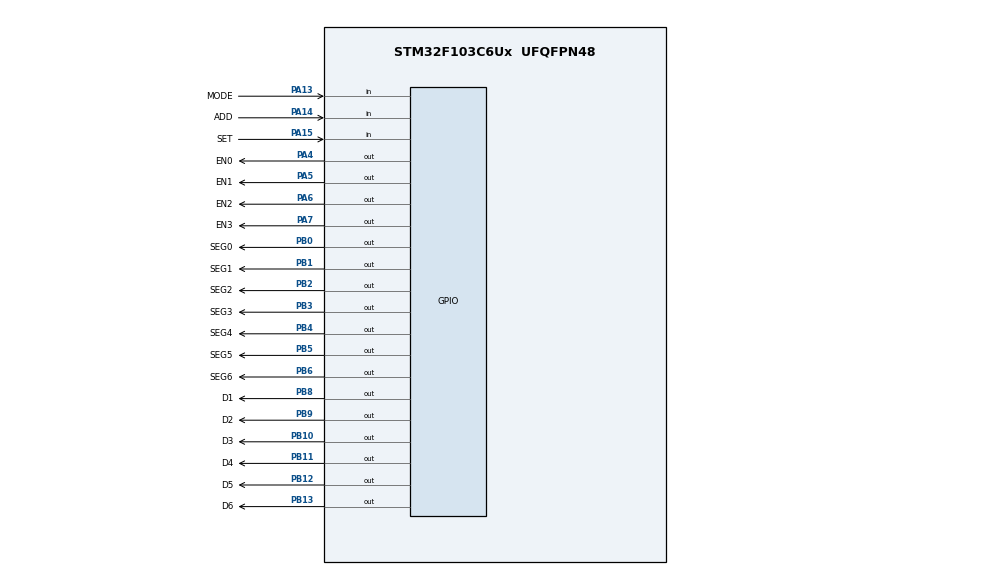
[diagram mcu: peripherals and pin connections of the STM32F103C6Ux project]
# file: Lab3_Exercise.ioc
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Mcu.Family=STM32F1
Mcu.Name=STM32F103C6Ux
Mcu.Package=UFQFPN48
NVIC.PriorityGroup=NVIC_PRIORITYGROUP_4
NVIC.TIM2_IRQn=true\:0\:0\:false\:false\:true\:true\:true
PA13.GPIO_Label=MODE
PA13.GPIO_PuPd=GPIO_PULLUP
PA13.Signal=GPIO_Input
PA14.GPIO_Label=ADD
PA14.GPIO_PuPd=GPIO_PULLUP
PA14.Signal=GPIO_Input
PA15.GPIO_Label=SET
PA15.GPIO_Mode=GPIO_MODE_INPUT
PA15.GPIO_PuPd=GPIO_PULLUP
PA15.Signal=GPIO_Input
PA4.GPIO_Label=EN0
PA4.Signal=GPIO_Output
PA5.GPIO_Label=EN1
PA5.Signal=GPIO_Output
PA6.GPIO_Label=EN2
PA6.Signal=GPIO_Output
PA7.GPIO_Label=EN3
PA7.Signal=GPIO_Output
PB0.GPIO_Label=SEG0
PB0.Signal=GPIO_Output
PB1.GPIO_Label=SEG1
PB1.Signal=GPIO_Output
PB10.GPIO_Label=D3
PB10.Signal=GPIO_Output
PB11.GPIO_Label=D4
PB11.Signal=GPIO_Output
PB12.GPIO_Label=D5
PB12.Signal=GPIO_Output
PB13.GPIO_Label=D6
PB13.Signal=GPIO_Output
PB2.GPIO_Label=SEG2
PB2.Signal=GPIO_Output
PB3.GPIO_Label=SEG3
PB3.Signal=GPIO_Output
PB4.GPIO_Label=SEG4
PB4.Signal=GPIO_Output
PB5.GPIO_Label=SEG5
PB5.Signal=GPIO_Output
PB6.GPIO_Label=SEG6
PB6.Signal=GPIO_Output
PB8.GPIO_Label=D1
PB8.Signal=GPIO_Output
PB9.GPIO_Label=D2
PB9.Signal=GPIO_Output
ProjectManager.HeapSize=0x200
ProjectManager.StackSize=0x400
ProjectManager.TargetToolchain=STM32CubeIDE
RCC.APB1Freq_Value=8000000
RCC.APB2Freq_Value=8000000
TIM2.Period=9
TIM2.Prescaler=7999
VP_SYS_VS_ND.Mode=No_Debug
VP_TIM2_VS_ClockSourceINT.Mode=Internal
board=custom

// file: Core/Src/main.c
/* USER CODE BEGIN Header */
/**
  ******************************************************************************
  * @file           : main.c
  * @brief          : Main program body
  ******************************************************************************
  * @attention
  *
  * <h2><center>&copy; Copyright (c) 2023 STMicroelectronics.
  * All rights reserved.</center></h2>
  *
  * This software component is licensed by ST under BSD 3-Clause license,
  * the "License"; You may not use this file except in compliance with the
  * License. You may obtain a copy of the License at:
  *                        opensource.org/licenses/BSD-3-Clause
  *
  ******************************************************************************
  */
/* USER CODE END Header */
#include "main.h"

/* USER CODE BEGIN Includes */
#include "softwareTimer.h"
#include "fsm_auto.h"
#include "button.h"
#include  "fsm_manual.h"
/* USER CODE END Includes */

TIM_HandleTypeDef htim2;

void SystemClock_Config(void);
static void MX_GPIO_Init(void);
static void MX_TIM2_Init(void);

int main(void)
{

  /* MCU Configuration--------------------------------------------------------*/

  /* Reset of all peripherals, Initializes the Flash interface and the Systick. */
  HAL_Init();

  /* Configure the system clock */
  SystemClock_Config();

  /* Initialize all configured peripherals */
  MX_GPIO_Init();
  MX_TIM2_Init();
  /* USER CODE BEGIN 2 */
  HAL_TIM_Base_Start_IT(&htim2);
  /* USER CODE END 2 */

  /* Infinite loop */
  /* USER CODE BEGIN WHILE */
  setTimer3(100);
  setTimer4(25);
  status = INIT;
  setTimer5(100);
  cntRoad1 = arr[RED];
  cntRoad2 = arr[GREEN];
  while (1)
  {
	  fsm_automatic_run();
	  fsm_manual_run();

    /* USER CODE END WHILE */

  }
}

void SystemClock_Config(void)
{
  RCC_OscInitTypeDef RCC_OscInitStruct = {0};
  RCC_ClkInitTypeDef RCC_ClkInitStruct = {0};

  /** Initializes the RCC Oscillators according to the specified parameters
  * in the RCC_OscInitTypeDef structure.
  */
  RCC_OscInitStruct.OscillatorType = RCC_OSCILLATORTYPE_HSI;
  RCC_OscInitStruct.HSIState = RCC_HSI_ON;
  RCC_OscInitStruct.HSICalibrationValue = RCC_HSICALIBRATION_DEFAULT;
  RCC_OscInitStruct.PLL.PLLState = RCC_PLL_NONE;
  if (HAL_RCC_OscConfig(&RCC_OscInitStruct) != HAL_OK)
  {
    Error_Handler();
  }
  /** Initializes the CPU, AHB and APB buses clocks
  */
  RCC_ClkInitStruct.ClockType = RCC_CLOCKTYPE_HCLK|RCC_CLOCKTYPE_SYSCLK
                              |RCC_CLOCKTYPE_PCLK1|RCC_CLOCKTYPE_PCLK2;
  RCC_ClkInitStruct.SYSCLKSource = RCC_SYSCLKSOURCE_HSI;
  RCC_ClkInitStruct.AHBCLKDivider = RCC_SYSCLK_DIV1;
  RCC_ClkInitStruct.APB1CLKDivider = RCC_HCLK_DIV1;
  RCC_ClkInitStruct.APB2CLKDivider = RCC_HCLK_DIV1;

  if (HAL_RCC_ClockConfig(&RCC_ClkInitStruct, FLASH_LATENCY_0) != HAL_OK)
  {
    Error_Handler();
  }
}

static void MX_TIM2_Init(void)
{

  TIM_ClockConfigTypeDef sClockSourceConfig = {0};
  TIM_MasterConfigTypeDef sMasterConfig = {0};

  htim2.Instance = TIM2;
  htim2.Init.Prescaler = 7999;
  htim2.Init.CounterMode = TIM_COUNTERMODE_UP;
  htim2.Init.Period = 9;
  htim2.Init.ClockDivision = TIM_CLOCKDIVISION_DIV1;
  htim2.Init.AutoReloadPreload = TIM_AUTORELOAD_PRELOAD_DISABLE;
  if (HAL_TIM_Base_Init(&htim2) != HAL_OK)
  {
    Error_Handler();
  }
  sClockSourceConfig.ClockSource = TIM_CLOCKSOURCE_INTERNAL;
  if (HAL_TIM_ConfigClockSource(&htim2, &sClockSourceConfig) != HAL_OK)
  {
    Error_Handler();
  }
  sMasterConfig.MasterOutputTrigger = TIM_TRGO_RESET;
  sMasterConfig.MasterSlaveMode = TIM_MASTERSLAVEMODE_DISABLE;
  if (HAL_TIMEx_MasterConfigSynchronization(&htim2, &sMasterConfig) != HAL_OK)
  {
    Error_Handler();
  }

}

static void MX_GPIO_Init(void)
{
  GPIO_InitTypeDef GPIO_InitStruct = {0};

  /* GPIO Ports Clock Enable */
  __HAL_RCC_GPIOA_CLK_ENABLE();
  __HAL_RCC_GPIOB_CLK_ENABLE();

  /*Configure GPIO pin Output Level */
  HAL_GPIO_WritePin(GPIOA, EN0_Pin|EN1_Pin|EN2_Pin|EN3_Pin, GPIO_PIN_RESET);

  /*Configure GPIO pin Output Level */
  HAL_GPIO_WritePin(GPIOB, SEG0_Pin|SEG1_Pin|SEG2_Pin|D3_Pin
                          |D4_Pin|D5_Pin|D6_Pin|SEG3_Pin
                          |SEG4_Pin|SEG5_Pin|SEG6_Pin|D1_Pin
                          |D2_Pin, GPIO_PIN_RESET);

  /*Configure GPIO pins : EN0_Pin EN1_Pin EN2_Pin EN3_Pin */
  GPIO_InitStruct.Pin = EN0_Pin|EN1_Pin|EN2_Pin|EN3_Pin;
  GPIO_InitStruct.Mode = GPIO_MODE_OUTPUT_PP;
  GPIO_InitStruct.Pull = GPIO_NOPULL;
  GPIO_InitStruct.Speed = GPIO_SPEED_FREQ_LOW;
  HAL_GPIO_Init(GPIOA, &GPIO_InitStruct);

  /*Configure GPIO pins : SEG0_Pin SEG1_Pin SEG2_Pin D3_Pin
                           D4_Pin D5_Pin D6_Pin SEG3_Pin
                           SEG4_Pin SEG5_Pin SEG6_Pin D1_Pin
                           D2_Pin */
  GPIO_InitStruct.Pin = SEG0_Pin|SEG1_Pin|SEG2_Pin|D3_Pin
                          |D4_Pin|D5_Pin|D6_Pin|SEG3_Pin
                          |SEG4_Pin|SEG5_Pin|SEG6_Pin|D1_Pin
                          |D2_Pin;
  GPIO_InitStruct.Mode = GPIO_MODE_OUTPUT_PP;
  GPIO_InitStruct.Pull = GPIO_NOPULL;
  GPIO_InitStruct.Speed = GPIO_SPEED_FREQ_LOW;
  HAL_GPIO_Init(GPIOB, &GPIO_InitStruct);

  /*Configure GPIO pins : MODE_Pin ADD_Pin SET_Pin */
  GPIO_InitStruct.Pin = MODE_Pin|ADD_Pin|SET_Pin;
  GPIO_InitStruct.Mode = GPIO_MODE_INPUT;
  GPIO_InitStruct.Pull = GPIO_PULLUP;
  HAL_GPIO_Init(GPIOA, &GPIO_InitStruct);

}

/* USER CODE BEGIN 4 */
void HAL_TIM_PeriodElapsedCallback(TIM_HandleTypeDef *htim){
	timerRun();
	getKeyInput();
}
/* USER CODE END 4 */

void Error_Handler(void)
{
  __disable_irq();
  while (1)
  {
  }
}

/************************ (C) COPYRIGHT STMicroelectronics *****END OF FILE****/
